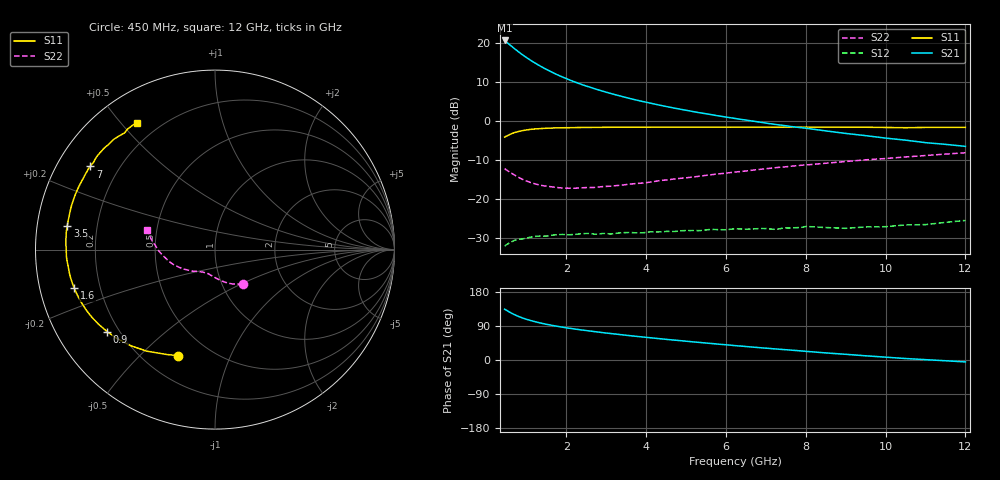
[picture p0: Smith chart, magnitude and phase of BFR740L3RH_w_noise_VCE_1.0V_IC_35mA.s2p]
! (c) 2012  Infineon Technologies AG, Munich
! Infineon Technologies  Discrete & RF Semiconductors
! BFR740L3RH
! VCE =  1.0 V,  IC =  35 mA
! Common Emitter S-Parameters:  May 2012
# GHz  S  MA  R  50
!  f  S11  S21  S12  S22
! GHz  MAG  ANG  MAG  ANG  MAG  ANG  MAG  ANG
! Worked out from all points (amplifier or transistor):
!   85 points, 450 MHz to 12 GHz, reference 50 ohm
!   highest |S21| = 20.6 dB at 450 MHz (marker M1)
!   |S21| within 3 dB of that: start of sweep to 811.7 MHz
!   unconditionally stable (mu >= 1): start of sweep to 540.3 MHz; 1.371 GHz to end of sweep
!   at 1.8 GHz: K = 1.14, MAG = 18.1 dB, |S12| = -29.0 dB
!   at 4.6 GHz: K = 2.43, MAG = 9.2 dB, |S12| = -28.2 dB
!   at 12 GHz: K = 5.23, MAG = -0.7 dB, |S12| = -25.4 dB
!   lowest NFmin = 1.30 dB at 450 MHz
!   S11 on the Smith chart (normalised r, x): 450 MHz: 0.34, -0.66; 900 MHz: 0.15, -0.33; 1.6 GHz: 0.10, -0.13; 3.5 GHz: 0.09, +0.08; 7 GHz: 0.10, +0.30; 12 GHz: 0.12, +0.55
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0.45  0.6249 -109.0  10.71 134.1  0.0252 33.5  0.2472 -50.8
0.5  0.6426 -114.5  10.2 131.0  0.0264 34.9  0.2365 -54.4
0.6  0.6817 -123.9  9.249 124.8  0.0283 34.3  0.2188 -61.4
0.7  0.7128 -131.4  8.404 119.5  0.0299 31.1  0.204 -67.4
0.8  0.7365 -137.6  7.663 114.9  0.0308 29.0  0.1908 -72.6
0.9  0.7552 -142.8  7.024 110.9  0.0312 27.5  0.18 -77.1
1  0.7702 -147.3  6.469 107.4  0.032 25.9  0.1714 -81.3
1.2  0.7917 -154.4  5.565 101.4  0.0335 22.8  0.1582 -88.4
1.4  0.8044 -160.1  4.86 96.4  0.0339 21.2  0.1498 -93.8
1.6  0.8131 -164.7  4.305 92.2  0.0346 20.2  0.1451 -99.3
1.8  0.8194 -168.7  3.846 88.4  0.0354 19.4  0.1409 -103.5
2  0.8222 -172.0  3.481 84.9  0.0352 19.4  0.1391 -107.1
2.4  0.8287 -177.5  2.911 79.0  0.0364 19.1  0.1406 -113.9
2.9  0.8318 176.7  2.416 72.4  0.0366 19.2  0.1453 -120.5
3.5  0.8337 170.9  1.995 65.2  0.0376 19.0  0.1544 -127.6
4.3  0.8353 164.4  1.611 56.6  0.0383 20.9  0.1721 -135.6
5.2  0.8364 157.6  1.315 47.6  0.04 22.6  0.1936 -144.4
6.3  0.8355 150.4  1.065 37.3  0.0419 23.6  0.225 -154.3
7  0.8355 146.3  0.942 31.2  0.0423 23.4  0.2461 -160.3
8.5  0.8372 137.5  0.749 18.7  0.0436 26.0  0.2891 -172.8
10.5  0.8223 127.7  0.57 3.9  0.0471 30.6  0.348 173.3
12  0.8306 121.7  0.475 -5.1  0.0537 35.9  0.3936 164.0
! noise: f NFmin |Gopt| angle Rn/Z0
0.45  1.3  0.15  179  0.12
0.9  1.31  0.15  177  0.12
1.5  1.33  0.16  175  0.11
1.9  1.34  0.17  174  0.11
2.4  1.37  0.18  175  0.11
3.5  1.44  0.19  176  0.11
5.5  1.61  0.25  180  0.1
8  1.88  0.31  -164  0.12
10  2.1  0.33  -150  0.16
12  2.33  0.41  -128  0.26
